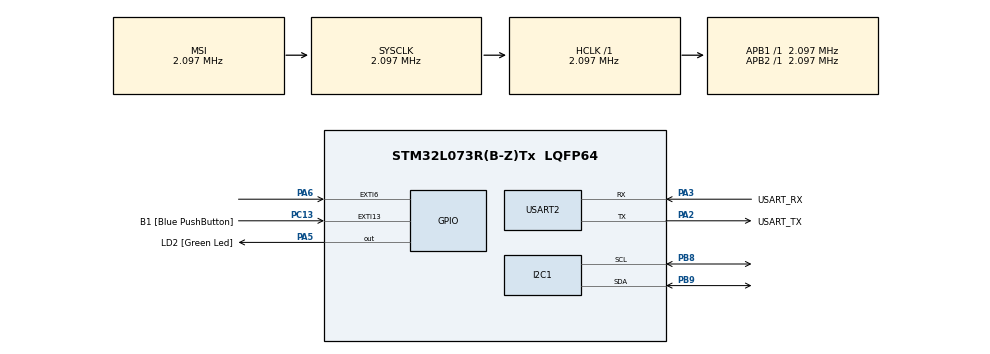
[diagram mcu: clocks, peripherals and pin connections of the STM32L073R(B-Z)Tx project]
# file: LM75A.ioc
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Mcu.Family=STM32L0
Mcu.Name=STM32L073R(B-Z)Tx
Mcu.Package=LQFP64
NVIC.EXTI4_15_IRQn=true\:0\:0\:false\:false\:true\:true\:true
PA13.GPIO_Label=TMS
PA13.Mode=Serial_Wire
PA13.Signal=SYS_SWDIO
PA14.GPIO_Label=TCK
PA14.Mode=Serial_Wire
PA14.Signal=SYS_SWCLK
PA2.GPIO_Label=USART_TX
PA2.Mode=Asynchronous
PA2.Signal=USART2_TX
PA3.GPIO_Label=USART_RX
PA3.Mode=Asynchronous
PA3.Signal=USART2_RX
PA5.GPIO_Label=LD2 [Green Led]
PA5.Signal=GPIO_Output
PA6.GPIO_ModeDefaultEXTI=GPIO_MODE_IT_FALLING
PA6.GPIO_PuPd=GPIO_PULLUP
PA6.Signal=GPXTI6
PB8.Mode=I2C
PB8.Signal=I2C1_SCL
PB9.Mode=I2C
PB9.Signal=I2C1_SDA
PC13.GPIO_Label=B1 [Blue PushButton]
PC13.GPIO_ModeDefaultEXTI=GPIO_MODE_IT_FALLING
PC13.Signal=GPXTI13
PC14-OSC32_IN.Mode=LSE-External-Oscillator
PC14-OSC32_IN.Signal=RCC_OSC32_IN
PC15-OSC32_OUT.Mode=LSE-External-Oscillator
PC15-OSC32_OUT.Signal=RCC_OSC32_OUT
PH0-OSC_IN.GPIO_Label=MCO
PH0-OSC_IN.Mode=HSE-External-Clock-Source
PH0-OSC_IN.Signal=RCC_OSC_IN
ProjectManager.HeapSize=0x200
ProjectManager.StackSize=0x400
ProjectManager.TargetToolchain=STM32CubeIDE
RCC.AHBFreq_Value=2097000
RCC.APB1Freq_Value=2097000
RCC.APB1TimFreq_Value=2097000
RCC.APB2Freq_Value=2097000
RCC.APB2TimFreq_Value=2097000
RCC.HSE_VALUE=8000000
RCC.HSI16_VALUE=16000000
RCC.HSI48_VALUE=48000000
RCC.HSI_VALUE=16000000
RCC.MSI_VALUE=2097000
RCC.SYSCLKFreq_VALUE=2097000
RCC.VCOOutputFreq_Value=48000000
USART2.VirtualMode-Asynchronous=VM_ASYNC
board=NUCLEO-L073RZ

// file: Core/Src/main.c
/* USER CODE BEGIN Header */
/**
  ******************************************************************************
  * @file           : main.c
  * @brief          : Main program body
  ******************************************************************************
  * @attention
  *
  * <h2><center>&copy; Copyright (c) 2020 STMicroelectronics.
  * All rights reserved.</center></h2>
  *
  * This software component is licensed by ST under BSD 3-Clause license,
  * the "License"; You may not use this file except in compliance with the
  * License. You may obtain a copy of the License at:
  *                        opensource.org/licenses/BSD-3-Clause
  *
  ******************************************************************************
  */
/* USER CODE END Header */

#include "main.h"

/* USER CODE BEGIN Includes */
#include "stdlib.h"
#include "TSL2561.h"
#include <stdio.h>
#include <string.h>
#include "retarget.h"
/* USER CODE END Includes */

I2C_HandleTypeDef hi2c1;
UART_HandleTypeDef huart2;

/* USER CODE BEGIN PV */
uint16_t Int_Counter=0;
uint8_t Reg_Buf[5]={'\0'}; //global buffer for general purpose
/* USER CODE END PV */

void SystemClock_Config(void);
static void MX_GPIO_Init(void);
static void MX_USART2_UART_Init(void);
static void MX_I2C1_Init(void);
/* USER CODE BEGIN PFP */
int8_t i2c_reg_write(uint8_t i2c_addr, uint8_t reg_addr, uint8_t *reg_data, uint16_t length);
int8_t i2c_reg_read(uint8_t i2c_addr, uint8_t reg_addr, uint8_t *reg_data, uint16_t length);
int8_t i2c_only_reg_write(uint8_t i2c_addr, uint8_t reg_addr);
/* USER CODE END PFP */

int main(void)
{
  /* USER CODE BEGIN 1 */
	uint16_t Broadband,Ir,Total;
	uint16_t Hi_Thre=100,Lo_Thre=0;
  /* USER CODE END 1 */

  /* MCU Configuration--------------------------------------------------------*/

  /* Reset of all peripherals, Initializes the Flash interface and the Systick. */
  HAL_Init();

  /* Configure the system clock */
  SystemClock_Config();

  /* Initialize all configured peripherals */
  MX_GPIO_Init();
  MX_USART2_UART_Init();
  MX_I2C1_Init();
  /* USER CODE BEGIN 2 */
  RetargetInit(&huart2);

  /* USER CODE END 2 */

  /* Infinite loop */
  /* USER CODE BEGIN WHILE */

  //Assign required configuration of sensor
  TSL2561_Config(TSL2561_ADDR_FLOAT,1);         //Note: assumed Default Floating pin Address

  if(TSL2561_Init())
	  printf("TSL2561 has been found\n\r");
  else
  {
	  printf("No TSL2561 has been found\n\r");
	  while(1);
  }

  //Wake up the sensor from Power Down state
  TSL2561_Enable();

  //Configuration of interrupt in sensor,Required Threshold value can only be found using iterative experiment
  TSL2561_Config_Intr(0x11,&Hi_Thre,&Lo_Thre);  //Threshold are assigned just for example
  //printf("Low: %d, Hi: %d\n\r",Lo_Thre,Hi_Thre); //Ensure Correct Threshold value

  while(1)
  {
	  HAL_Delay(5000); //5 second interval delay

	  //Poll the sensor for Reading for both spectrum bands
	  TSL2561_getLuminosity(&Broadband, &Ir);
	  Total = TSL2561_calculateLux(Broadband, Ir);

	  //Print out Lux value and interrupt counter
	  printf("Reading In Lux : %d,Counter Value: %d\n\r",Total,Int_Counter);

	  //According to this example threshold occurs above 2000 lux with LED light , if candle light used threshold occurs at 100 lux

	  if(Total<2000)
		  TSL2561_Clr_Int();  //clear interrupt
    /* USER CODE END WHILE */

  }
}

void SystemClock_Config(void)
{
  RCC_OscInitTypeDef RCC_OscInitStruct = {0};
  RCC_ClkInitTypeDef RCC_ClkInitStruct = {0};
  RCC_PeriphCLKInitTypeDef PeriphClkInit = {0};

  /** Configure the main internal regulator output voltage
  */
  __HAL_PWR_VOLTAGESCALING_CONFIG(PWR_REGULATOR_VOLTAGE_SCALE1);
  /** Initializes the CPU, AHB and APB busses clocks
  */
  RCC_OscInitStruct.OscillatorType = RCC_OSCILLATORTYPE_MSI;
  RCC_OscInitStruct.MSIState = RCC_MSI_ON;
  RCC_OscInitStruct.MSICalibrationValue = 0;
  RCC_OscInitStruct.MSIClockRange = RCC_MSIRANGE_5;
  RCC_OscInitStruct.PLL.PLLState = RCC_PLL_NONE;
  if (HAL_RCC_OscConfig(&RCC_OscInitStruct) != HAL_OK)
  {
    Error_Handler();
  }
  /** Initializes the CPU, AHB and APB busses clocks
  */
  RCC_ClkInitStruct.ClockType = RCC_CLOCKTYPE_HCLK|RCC_CLOCKTYPE_SYSCLK
                              |RCC_CLOCKTYPE_PCLK1|RCC_CLOCKTYPE_PCLK2;
  RCC_ClkInitStruct.SYSCLKSource = RCC_SYSCLKSOURCE_MSI;
  RCC_ClkInitStruct.AHBCLKDivider = RCC_SYSCLK_DIV1;
  RCC_ClkInitStruct.APB1CLKDivider = RCC_HCLK_DIV1;
  RCC_ClkInitStruct.APB2CLKDivider = RCC_HCLK_DIV1;

  if (HAL_RCC_ClockConfig(&RCC_ClkInitStruct, FLASH_LATENCY_0) != HAL_OK)
  {
    Error_Handler();
  }
  PeriphClkInit.PeriphClockSelection = RCC_PERIPHCLK_USART2|RCC_PERIPHCLK_I2C1;
  PeriphClkInit.Usart2ClockSelection = RCC_USART2CLKSOURCE_PCLK1;
  PeriphClkInit.I2c1ClockSelection = RCC_I2C1CLKSOURCE_PCLK1;
  if (HAL_RCCEx_PeriphCLKConfig(&PeriphClkInit) != HAL_OK)
  {
    Error_Handler();
  }
}

static void MX_I2C1_Init(void)
{

  hi2c1.Instance = I2C1;
  hi2c1.Init.Timing = 0x00000708;
  hi2c1.Init.OwnAddress1 = 0;
  hi2c1.Init.AddressingMode = I2C_ADDRESSINGMODE_7BIT;
  hi2c1.Init.DualAddressMode = I2C_DUALADDRESS_DISABLE;
  hi2c1.Init.OwnAddress2 = 0;
  hi2c1.Init.OwnAddress2Masks = I2C_OA2_NOMASK;
  hi2c1.Init.GeneralCallMode = I2C_GENERALCALL_DISABLE;
  hi2c1.Init.NoStretchMode = I2C_NOSTRETCH_DISABLE;
  if (HAL_I2C_Init(&hi2c1) != HAL_OK)
  {
    Error_Handler();
  }
  /** Configure Analogue filter
  */
  if (HAL_I2CEx_ConfigAnalogFilter(&hi2c1, I2C_ANALOGFILTER_ENABLE) != HAL_OK)
  {
    Error_Handler();
  }
  /** Configure Digital filter
  */
  if (HAL_I2CEx_ConfigDigitalFilter(&hi2c1, 0) != HAL_OK)
  {
    Error_Handler();
  }

}

static void MX_USART2_UART_Init(void)
{

  huart2.Instance = USART2;
  huart2.Init.BaudRate = 115200;
  huart2.Init.WordLength = UART_WORDLENGTH_8B;
  huart2.Init.StopBits = UART_STOPBITS_1;
  huart2.Init.Parity = UART_PARITY_NONE;
  huart2.Init.Mode = UART_MODE_TX_RX;
  huart2.Init.HwFlowCtl = UART_HWCONTROL_NONE;
  huart2.Init.OverSampling = UART_OVERSAMPLING_16;
  huart2.Init.OneBitSampling = UART_ONE_BIT_SAMPLE_DISABLE;
  huart2.AdvancedInit.AdvFeatureInit = UART_ADVFEATURE_NO_INIT;
  if (HAL_UART_Init(&huart2) != HAL_OK)
  {
    Error_Handler();
  }

}

static void MX_GPIO_Init(void)
{
  GPIO_InitTypeDef GPIO_InitStruct = {0};

  /* GPIO Ports Clock Enable */
  __HAL_RCC_GPIOC_CLK_ENABLE();
  __HAL_RCC_GPIOH_CLK_ENABLE();
  __HAL_RCC_GPIOA_CLK_ENABLE();
  __HAL_RCC_GPIOB_CLK_ENABLE();

  /*Configure GPIO pin Output Level */
  HAL_GPIO_WritePin(LD2_GPIO_Port, LD2_Pin, GPIO_PIN_RESET);

  /*Configure GPIO pin : B1_Pin */
  GPIO_InitStruct.Pin = B1_Pin;
  GPIO_InitStruct.Mode = GPIO_MODE_IT_FALLING;
  GPIO_InitStruct.Pull = GPIO_NOPULL;
  HAL_GPIO_Init(B1_GPIO_Port, &GPIO_InitStruct);

  /*Configure GPIO pin : LD2_Pin */
  GPIO_InitStruct.Pin = LD2_Pin;
  GPIO_InitStruct.Mode = GPIO_MODE_OUTPUT_PP;
  GPIO_InitStruct.Pull = GPIO_NOPULL;
  GPIO_InitStruct.Speed = GPIO_SPEED_FREQ_LOW;
  HAL_GPIO_Init(LD2_GPIO_Port, &GPIO_InitStruct);

  /*Configure GPIO pin : PA6 */
  GPIO_InitStruct.Pin = GPIO_PIN_6;
  GPIO_InitStruct.Mode = GPIO_MODE_IT_FALLING;
  GPIO_InitStruct.Pull = GPIO_PULLUP;
  HAL_GPIO_Init(GPIOA, &GPIO_InitStruct);

  /* EXTI interrupt init*/
  HAL_NVIC_SetPriority(EXTI4_15_IRQn, 0, 0);
  HAL_NVIC_EnableIRQ(EXTI4_15_IRQn);

}

/* USER CODE BEGIN 4 */
/**
  * @brief I2c master write function
  * @param i2c_addr slave address
  * @param reg_addr slave register address which needs to be write
  * @param *reg_data data buffer which contains data to be written
  * @param length   No. of bytes needs to be written
  * @retval 0 success , -1 error
  */
int8_t i2c_reg_write(uint8_t i2c_addr, uint8_t reg_addr, uint8_t *reg_data, uint16_t length)
{
  int8_t *buf;
  buf = malloc(length +1);
  buf[0] = reg_addr;
  memcpy(buf +1, reg_data, length);

  if(HAL_I2C_Master_Transmit(&hi2c1, (i2c_addr << 1), (uint8_t*)buf, length + 1, HAL_MAX_DELAY) != HAL_OK)
	  {
	      printf("I2C Write Error\n");
	  	  return -1;
	  }

  free(buf);
  return 0;
}

/**
  * @brief I2c master read function
  * @param i2c_addr slave address
  * @param reg_addr slave register address which needs to be read
  * @param *reg_data read data will be stored in this variable
  * @param length   No. of bytes needs to be read
  * @retval 0 success , -1 error
  */
int8_t i2c_reg_read(uint8_t i2c_addr, uint8_t reg_addr, uint8_t *reg_data, uint16_t length)
{

if(HAL_I2C_Master_Transmit(&hi2c1, (i2c_addr << 1), &reg_addr, 1, 10) != HAL_OK) {
    printf("I2C Read Error\n");
	  return -1;
}

  if(HAL_I2C_Master_Receive(&hi2c1, (i2c_addr << 1) | 0x01, reg_data, length, 10) != HAL_OK){
      printf("I2C Read Error\n");
  	  return -1;
  }

  return 0;
}

/**
  * @brief I2c master only register write function
  * @param i2c_addr slave address
  * @param reg_addr slave register address which needs to be write
  * @retval 0 success , -1 error
  */
int8_t i2c_only_reg_write(uint8_t i2c_addr, uint8_t reg_addr)
{
	Reg_Buf[0] =  (TSL2561_COMMAND_BIT|TSL2561_CLEAR_BIT);
    if(HAL_I2C_Master_Transmit(&hi2c1, (i2c_addr << 1), Reg_Buf,1, HAL_MAX_DELAY) != HAL_OK)
    {
	    printf("I2C Write Error\n");
	    return -1;
    }
    return 0;
}
/* USER CODE END 4 */

void Error_Handler(void)
{
}

/************************ (C) COPYRIGHT STMicroelectronics *****END OF FILE****/
